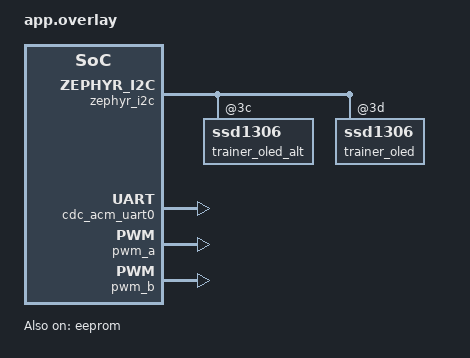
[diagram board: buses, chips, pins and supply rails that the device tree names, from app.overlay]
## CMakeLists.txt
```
# SPDX-License-Identifier: MIT
cmake_minimum_required(VERSION 3.20.0)
list(APPEND BOARD_ROOT "${CMAKE_CURRENT_SOURCE_DIR}/..")
find_package(Zephyr REQUIRED HINTS $ENV{ZEPHYR_BASE})
project(waveform_workout)
target_sources(app PRIVATE src/main.c src/lesson.c src/outputs.c src/usb_console.c src/i2c_scan.c)
if(NOT CONFIG_WORKOUT_FILTER_TEST)
  target_sources(app PRIVATE src/preset_store.c src/trainer_shell.c)
endif()
target_sources_ifdef(CONFIG_WORKOUT_OLED app PRIVATE src/oled.c)
```

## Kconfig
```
mainmenu "Waveform Workout"

config WORKOUT_USB_VID
	hex "USB vendor ID"
	default 0x2fe3
	help
	  Defaults to the Zephyr development VID. Assign your own VID/PID
	  before distributing the device outside development.

config WORKOUT_USB_PID
	hex "USB product ID"
	default 0x0004
	help
	  Defaults to the Zephyr CDC ACM console development PID.

config WORKOUT_FILTER_TEST
	bool "Run the Rev 1 dual-output 250 kHz filter diagnostic"
	help
	  Play the four raw DAC codes continuously after reset.

config WORKOUT_OLED
	bool "Show the active preset on an SSD1306 on J6"
	default y
	depends on !WORKOUT_FILTER_TEST
	select DISPLAY
	select CHARACTER_FRAMEBUFFER

config HEAP_MEM_POOL_ADD_SIZE_WORKOUT_OLED
	int
	default 1152 if WORKOUT_OLED
	default 0
	help
	  Space for the character framebuffer (up to 128 x 64) and allocator metadata.

source "Kconfig.zephyr"
```

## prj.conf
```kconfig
CONFIG_GPIO=y
CONFIG_PM_DEVICE=y
CONFIG_PM_DEVICE_RUNTIME=y
CONFIG_PM_DEVICE_RUNTIME_ASYNC=n
CONFIG_INPUT=y
CONFIG_INPUT_MODE_SYNCHRONOUS=y
CONFIG_DAC=y
CONFIG_DMA=y
CONFIG_SPI=y
CONFIG_LED_STRIP=y
CONFIG_REGULATOR=y
CONFIG_I2C=y
CONFIG_EEPROM=y
CONFIG_CRC=y

# USB CDC ACM is the serial transport for the interactive Zephyr shell.
CONFIG_USB_DEVICE_STACK_NEXT=y
# The STM32 driver supports other MCUs with HS; this board is FS only.
CONFIG_UDC_DRIVER_HIGH_SPEED_SUPPORT_ENABLED=n
CONFIG_USBD_MAX_SPEED_FULL=y
CONFIG_HWINFO=y
# One FS CDC interface needs only small control and 64-byte bulk transfers.
CONFIG_UDC_BUF_POOL_SIZE=512
CONFIG_ISR_STACK_SIZE=1024
CONFIG_SERIAL=y
CONFIG_UART_LINE_CTRL=y
CONFIG_CONSOLE=y
CONFIG_UART_CONSOLE=y
CONFIG_SHELL=y
CONFIG_SHELL_MINIMAL=y
CONFIG_SHELL_HELP=y
CONFIG_SHELL_TAB=y
CONFIG_SHELL_TAB_AUTOCOMPLETION=y
CONFIG_SHELL_HISTORY=y
CONFIG_SHELL_HISTORY_BUFFER=256
CONFIG_SHELL_BACKEND_SERIAL=y
# CDC ACM buffers shell output. Avoid a separate 100 ms DTR polling timer.
CONFIG_SHELL_BACKEND_SERIAL_CHECK_DTR=n
CONFIG_SHELL_BACKEND_SERIAL_TX_RING_BUFFER_SIZE=128
CONFIG_SHELL_PROMPT_UART="trainer:~$ "
CONFIG_KERNEL_SHELL=y
CONFIG_DEVICE_SHELL=y

# Measure VDD through VREFINT before attaching the USB transceiver.
CONFIG_ADC=y
CONFIG_SENSOR=y
```

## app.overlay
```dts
/* SPDX-License-Identifier: MIT */
#include <zephyr/dt-bindings/dma/stm32_dma.h>

/ {
	buttons {
		zephyr,suspend-action = "none";
	};

	chosen {
		zephyr,console = &cdc_acm_uart0;
		zephyr,shell-uart = &cdc_acm_uart0;
		zephyr,display = &trainer_oled;
	};
};

&eeprom { status = "okay"; };

&adc1 { zephyr,pm-device-runtime-auto; };

&spi2 {
	zephyr,pm-device-runtime-auto;
	/* Hold DIN low between frames. PB12/PB14 remain button inputs. */
	pinctrl-1 = <&pixel_data_idle>;
	pinctrl-names = "default", "sleep";
};

&pinctrl {
	pixel_data_idle: pixel-data-idle {
		pinmux = <STM32_PINMUX('B', 15, GPIO)>;
		output-low;
	};
};

&zephyr_i2c {
	trainer_oled_alt: ssd1306@3c {
		reg = <0x3c>;
		#include "oled-panel.dtsi"
	};
	trainer_oled: ssd1306@3d {
		reg = <0x3d>;
		#include "oled-panel.dtsi"
	};
};

&zephyr_udc0 {
	cdc_acm_uart0: cdc-acm-uart0 {
		compatible = "zephyr,cdc-acm-uart";
		/* Use the device product string. Zephyr 4.5 caches the optional
		 * CDC interface string index across USB shutdown/reinitialization.
		 */
		tx-fifo-size = <256>;
		rx-fifo-size = <256>;
	};
};

/* Expose the timer pin states. The application owns the timers directly. */
&pwm_a { status = "okay"; };
&pwm_b { status = "okay"; };

/* TIM2 compare events feed the two PWM preload registers halfway through
 * each period. RM0376 table 51 maps CC3 and CC4 to request 8.
 */
&timers2 {
	dmas = <&dma1 1 8 (STM32_DMA_PERIPH_TX | STM32_DMA_MEM_8BITS | STM32_DMA_PERIPH_16BITS |
			   STM32_DMA_MODE_CYCLIC)>,
	       <&dma1 4 8 (STM32_DMA_PERIPH_TX | STM32_DMA_MEM_8BITS | STM32_DMA_PERIPH_16BITS |
			   STM32_DMA_MODE_CYCLIC)>;
	dma-names = "pulse", "marker";
};
```

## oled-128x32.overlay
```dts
/* SPDX-License-Identifier: MIT */
&trainer_oled {
	height = <32>;
	multiplex-ratio = <31>;
	com-sequential;
};
&trainer_oled_alt {
	height = <32>;
	multiplex-ratio = <31>;
	com-sequential;
};
```

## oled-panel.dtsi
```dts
/* SPDX-License-Identifier: MIT */
/* One physical display. Boot selects the instance with the saved strap address. */
compatible = "solomon,ssd1306";
zephyr,deferred-init;
ready-time-ms = <100>;
width = <128>;
height = <64>;
multiplex-ratio = <63>;
segment-offset = <0>;
page-offset = <0>;
display-offset = <0>;
segment-remap;
com-invdir;
prechargep = <0x22>;
```

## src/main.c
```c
/* SPDX-License-Identifier: MIT */
#include "outputs.h"
#include "oled.h"
#include "preset_store.h"
#include "trainer.h"
#include "usb_console.h"
#include <zephyr/drivers/gpio.h>
#include <zephyr/drivers/led_strip.h>
#include <zephyr/input/input.h>
#include <zephyr/kernel.h>
#include <zephyr/pm/device_runtime.h>

#define PIXELS DT_ALIAS(led_strip)
BUILD_ASSERT(DT_PROP(PIXELS, chain_length) == 9);
static const struct device *const pixels = DEVICE_DT_GET(PIXELS);
static const struct device *const buttons = DEVICE_DT_GET(DT_PATH(buttons));
static const struct gpio_dt_spec diagnostic = GPIO_DT_SPEC_GET(DT_ALIAS(led0), gpios);
static const struct device *const pixel_spi = DEVICE_DT_GET(DT_BUS(PIXELS));

static void heartbeat(struct k_timer *timer)
{
	static bool light;
	light = !light;
	gpio_pin_set_dt(&diagnostic, light);
	k_timer_start(timer, light ? K_MSEC(20) : K_MSEC(4980), K_NO_WAIT);
}
K_TIMER_DEFINE(heartbeat_timer, heartbeat, NULL);

static void indicate_fault(void)
{
	k_timer_stop(&heartbeat_timer);
	gpio_pin_set_dt(&diagnostic, 1);
}

struct reply {
	struct k_sem done;
	int rc;
};

enum panel_action { NEXT_MODE, NEXT_VALUE, SET_MODE, SET_VALUE, SET_OLED_ADDRESS };
struct panel_event {
	enum panel_action action;
	uint8_t field;
	uint8_t value;
	int64_t pressed_at;
	struct reply *reply;
};
K_MSGQ_DEFINE(events, sizeof(struct panel_event), 8, 4);
static atomic_t accepting_edits;

static int submit_edit(struct panel_event event)
{
	if (!atomic_get(&accepting_edits)) {
		return -EAGAIN;
	}
	struct reply reply;
	event.reply = &reply;
	k_sem_init(&reply.done, 0, 1);
	k_msgq_put(&events, &event, K_FOREVER);
	k_sem_take(&reply.done, K_FOREVER);
	return reply.rc;
}

int trainer_set(enum mode field, uint8_t value)
{
	if ((unsigned int)field > MODE_COUNT ||
	    value >= (field == MODE_COUNT ? MODE_COUNT : VALUE_COUNT)) {
		return -EINVAL;
	}
	return submit_edit((struct panel_event){
		.action = field == MODE_COUNT ? SET_MODE : SET_VALUE, .field = field, .value = value,
	});
}

int trainer_set_oled_address(uint8_t address)
{
	if (!oled_address_valid(address)) {
		return -EINVAL;
	}
	return submit_edit((struct panel_event){ .action = SET_OLED_ADDRESS, .value = address });
}

static void on_key(struct input_event *event, void *context)
{
	ARG_UNUSED(context);
	/* gpio-keys debounces both edges. A held key generates one press. */
	if (event->type == INPUT_EV_KEY && event->value == 1 &&
	    (event->code == INPUT_KEY_0 || event->code == INPUT_KEY_1)) {
		struct panel_event press = {
			.action = event->code == INPUT_KEY_0 ? NEXT_MODE : NEXT_VALUE,
			.pressed_at = k_uptime_get(),
		};
		k_msgq_put(&events, &press, K_NO_WAIT);
	}
}
INPUT_CALLBACK_DEFINE(DEVICE_DT_GET(DT_PATH(buttons)), on_key, NULL);

static int display(const struct lesson *lesson)
{
	struct led_rgb frame[DT_PROP(PIXELS, chain_length)] = {0};
	if (lesson) {
		frame[lesson_mode_pixel(lesson)].g = 4;
		frame[lesson_value_pixel(lesson)].g = 4;
	}
	int rc = pm_device_runtime_get(pixel_spi);
	if (rc) {
		return rc;
	}
	rc = led_strip_update_rgb(pixels, frame, ARRAY_SIZE(frame));
	int power_rc = pm_device_runtime_put(pixel_spi);
	return rc ? rc : power_rc;
}

static int run_trainer(void)
{
	struct lesson lesson = LESSON_DEFAULT;
	if (IS_ENABLED(CONFIG_WORKOUT_FILTER_TEST)) {
		return outputs_apply(&lesson);
	}
	uint8_t oled_address = OLED_ADDRESS_DEFAULT;
	int load_rc = preset_load(&lesson, &oled_address);
	if (load_rc && load_rc != -ENOENT) {
		indicate_fault();
	}
	int rc = outputs_apply(&lesson);
	if (rc) {
		return rc;
	}
	const uint8_t boot_oled_address = oled_address;
	int64_t panel_until = 0;
	bool outputs_running = true;
	atomic_set(&accepting_edits, 1);
	for (;;) {
		struct panel_event event;
		k_timeout_t timeout = panel_until ? K_TIMEOUT_ABS_MS(panel_until) : K_FOREVER;
		if (k_msgq_get(&events, &event, timeout) != 0) {
			if (display(NULL)) {
				indicate_fault();
			}
			if (IS_ENABLED(CONFIG_WORKOUT_OLED)) {
				oled_sleep();
			}
			panel_until = 0;
			continue;
		}
		bool press = event.action == NEXT_MODE || event.action == NEXT_VALUE;
		bool wake_only = press && event.pressed_at >= panel_until;
		if (press) {
			panel_until = event.pressed_at + 2000;
		}
		rc = 0;
		if (!wake_only) {
			struct lesson next = lesson;
			uint8_t next_address = oled_address;
			switch (event.action) {
			case NEXT_MODE: lesson_next_mode(&next); break;
			case NEXT_VALUE: lesson_next_value(&next); break;
			case SET_MODE: next.mode = event.value; break;
			case SET_VALUE: next.value[event.field] = event.value; break;
			case SET_OLED_ADDRESS: next_address = event.value; break;
			}
			if (!outputs_running || lesson_output_changed(&lesson, &next)) {
				rc = outputs_apply(&next);
				outputs_running = rc == 0;
			}
			if (!rc) {
				lesson = next;
				rc = preset_save(&lesson, next_address);
				if (!rc) {
					oled_address = next_address;
				}
			}
		}
		if (k_uptime_get() < panel_until) {
			int led_rc = display(&lesson);
			if (!rc) {
				rc = led_rc;
			}
			if (IS_ENABLED(CONFIG_WORKOUT_OLED)) {
				if (wake_only) {
					oled_wake(boot_oled_address);
				}
				oled_show(&lesson);
			}
		}
		if (rc) {
			indicate_fault();
		}
		if (event.reply) {
			event.reply->rc = rc;
			k_sem_give(&event.reply->done);
		}
	}
}

int main(void)
{
	if (!gpio_is_ready_dt(&diagnostic) ||
	    gpio_pin_configure_dt(&diagnostic, GPIO_OUTPUT_INACTIVE)) {
		return -ENODEV;
	}
	if (usb_console_init()) {
		/* A console fault must not prevent standalone waveform playback. */
		indicate_fault();
	} else if (!IS_ENABLED(CONFIG_WORKOUT_FILTER_TEST)) {
		k_timer_start(&heartbeat_timer, K_SECONDS(5), K_NO_WAIT);
	}
	int rc = outputs_init();
	if (!rc) {
		if (!device_is_ready(pixels) || !device_is_ready(buttons)) {
			rc = -ENODEV;
		} else {
			/* Keep both debounced GPIO interrupts armed during CPU Sleep. */
			rc = pm_device_runtime_get(buttons);
			if (!rc) {
				rc = display(NULL);
			}
			if (!rc) {
				rc = run_trainer();
			}
		}
		if (rc) {
			outputs_idle();
		}
	}
	if (rc) {
		indicate_fault();
	}
	return rc;
}
```

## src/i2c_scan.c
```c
/* SPDX-License-Identifier: MIT */
#include <zephyr/drivers/i2c.h>
#include <zephyr/drivers/regulator.h>
#include <zephyr/kernel.h>
#include <zephyr/shell/shell.h>

static int cmd_i2c_scan(const struct shell *sh, size_t argc, char **argv)
{
	const struct device *bus = DEVICE_DT_GET(DT_NODELABEL(zephyr_i2c));
	const struct device *rail = DEVICE_DT_GET(DT_NODELABEL(qt_vdd));
	if (!device_is_ready(bus) || !device_is_ready(rail)) {
		shell_error(sh, "J6 bus or supply unavailable");
		return -ENODEV;
	}
	int rc = regulator_enable(rail);
	if (rc) {
		shell_error(sh, "Could not power J6 (%d)", rc);
		return rc;
	}
	k_sleep(K_MSEC(DT_PROP(DT_NODELABEL(trainer_oled), ready_time_ms)));
	unsigned int found = 0;
	uint8_t unused;
	struct i2c_msg probe = { .buf = &unused, .len = 0, .flags = I2C_MSG_WRITE | I2C_MSG_STOP };
	for (unsigned int address = 0x08; address <= 0x77; ++address) {
		rc = i2c_transfer(bus, &probe, 1, address);
		if (rc == 0) {
			shell_print(sh, "0x%02X", address);
			found++;
		} else if (rc != -EIO && rc != -ENXIO) {
			shell_error(sh, "Scan stopped at 0x%02X (%d)", address, rc);
			break;
		}
		rc = 0;
	}
	int power_rc = regulator_disable(rail);
	if (power_rc) {
		shell_error(sh, "Could not release J6 power (%d)", power_rc);
	}
	if (!rc) {
		shell_print(sh, "%u device(s) found on J6", found);
	}
	return rc ? rc : power_rc;
}

SHELL_CMD_ARG_REGISTER(i2c_scan, NULL, "Scan J6 for 7-bit I2C addresses.", cmd_i2c_scan, 1, 0);
```

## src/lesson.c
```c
/* SPDX-License-Identifier: MIT */
#include "lesson.h"

const char *const lesson_mode_names[MODE_COUNT] = {
	[SHAPE] = "shape", [AMP] = "amp", [FREQ] = "freq",
	[DC] = "dc", [XY] = "xy", [TRIG] = "trig",
};

const char *const lesson_value_names[MODE_COUNT][VALUE_COUNT] = {
	[SHAPE] = {"sine", "square", "triangle"},
	[AMP] = {"200mVpp", "500mVpp", "1Vpp"},
	[FREQ] = {"100Hz", "1kHz", "10kHz"},
	[DC] = {"250mV", "500mV", "1V"},
	[XY] = {"0deg", "90deg", "180deg"},
	[TRIG] = {"rare-pulse", "pulse-width", "missing"},
};

void lesson_next_mode(struct lesson *lesson)
{
	lesson->mode = (lesson->mode + 1) % MODE_COUNT;
}

void lesson_next_value(struct lesson *lesson)
{
	uint8_t *value = &lesson->value[lesson->mode];
	*value = (*value + 1) % VALUE_COUNT;
}

unsigned int lesson_mode_pixel(const struct lesson *lesson)
{
	static const uint8_t pixels[] = {7, 8, 6, 5, 4, 3};
	return pixels[lesson->mode];
}

bool lesson_output_changed(const struct lesson *previous, const struct lesson *next)
{
	/* SHAPE, AMP and FREQ are three editors for the same running waveform. */
	if (previous->mode < DC && next->mode < DC) {
		return previous->value[SHAPE] != next->value[SHAPE] ||
		       previous->value[AMP] != next->value[AMP] ||
		       previous->value[FREQ] != next->value[FREQ];
	}
	return previous->mode != next->mode ||
	       previous->value[next->mode] != next->value[next->mode] ||
	       (next->mode == XY && previous->value[AMP] != next->value[AMP]);
}

unsigned int lesson_value_pixel(const struct lesson *lesson)
{
	return 2 - lesson->value[lesson->mode];
}

unsigned int lesson_sample_rate(const struct lesson *lesson)
{
	static const unsigned int hz[] = {100, 1000, 10000};
	return CYCLE_SAMPLES * (lesson->mode == XY ? 1000 : hz[lesson->value[FREQ]]);
}

/* Signed shape in thousandths of peak amplitude, starting at the rising
 * center crossing for the sine and triangle.
 */
static int shape_level(uint8_t shape, unsigned int phase)
{
	static const int16_t quarter_sine[] = {
		0, 131, 259, 383, 500, 609, 707, 793, 866, 924, 966, 991, 1000
	};
	unsigned int quarter = CYCLE_SAMPLES / 4;
	unsigned int quadrant = phase / quarter;
	unsigned int step = phase % quarter;

	if (shape == 1) {
		return quadrant < 2 ? 1000 : -1000;
	}
	if (quadrant & 1) {
		step = quarter - step;
	}
	int level = shape == 2 ? (int)(1000 * step / quarter) : quarter_sine[step];
	return quadrant < 2 ? level : -level;
}

static uint32_t dac_code(unsigned int microvolts, unsigned int vref_mv)
{
	/* Use 64 bits before scaling the 1.25 V peak by 4096. Only used when
	 * preparing the table, never on the sample clock.
	 */
	unsigned int reference = 1000 * vref_mv;
	return ((uint64_t)microvolts * 4096 + reference / 2) / reference;
}

uint32_t lesson_sample(const struct lesson *lesson, unsigned int phase, unsigned int vref_mv)
{
	static const int vpp_mv[] = {200, 500, 1000};
	static const unsigned int dc_uv[] = {250000, 500000, 1000000};
	uint32_t a, b;

	if (lesson->mode == DC) {
		a = b = dac_code(dc_uv[lesson->value[DC]], vref_mv);
	} else {
		int peak_mv = vpp_mv[lesson->value[AMP]] / 2;
		unsigned int shape = lesson->mode == XY ? 0 : lesson->value[SHAPE];
		unsigned int offset = lesson->mode == XY ? lesson->value[XY] * CYCLE_SAMPLES / 4 : 0;
		a = dac_code(750000 + peak_mv * shape_level(shape, phase), vref_mv);
		b = dac_code(750000 + peak_mv * shape_level(shape, (phase + offset) % CYCLE_SAMPLES),
			     vref_mv);
	}
	return (a << 16) | b; /* DAC2 = J2 (A), DAC1 = TP3 (B). */
}

unsigned int trigger_sequence(uint8_t value, uint8_t *pulse_us, uint8_t *marker_us)
{
	if (value == 1) {
		static const uint8_t widths[] = {10, 40, 80};
		for (unsigned int i = 0; i < 3; ++i) {
			pulse_us[i] = widths[i];
			marker_us[i] = i == 0 ? 10 : 0;
		}
		return 3;
	}
	for (unsigned int i = 0; i < RARE_PERIODS - 1; ++i) {
		pulse_us[i] = 50;
		marker_us[i] = 0;
	}
	pulse_us[RARE_PERIODS - 1] = value == 0 ? 2 : 0;
	marker_us[RARE_PERIODS - 1] = 10;
	return RARE_PERIODS;
}
```

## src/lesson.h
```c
/* SPDX-License-Identifier: MIT */
#ifndef WORKOUT_LESSON_H
#define WORKOUT_LESSON_H

#include <stdbool.h>
#include <stdint.h>

enum mode { SHAPE, AMP, FREQ, DC, XY, TRIG, MODE_COUNT };
enum { VALUE_COUNT = 3 };
enum { CYCLE_SAMPLES = 48, TRIGGER_PERIOD_US = 100, RARE_PERIODS = 1000 };

struct lesson {
	enum mode mode;
	uint8_t value[MODE_COUNT]; /* zero-based front-panel positions */
};

#define LESSON_DEFAULT { .mode = SHAPE, .value = { [AMP] = 2, [FREQ] = 1 } }

extern const char *const lesson_mode_names[MODE_COUNT];
extern const char *const lesson_value_names[MODE_COUNT][VALUE_COUNT];

void lesson_next_mode(struct lesson *lesson);
void lesson_next_value(struct lesson *lesson);
bool lesson_output_changed(const struct lesson *previous, const struct lesson *next);
unsigned int lesson_mode_pixel(const struct lesson *lesson);
unsigned int lesson_value_pixel(const struct lesson *lesson);
unsigned int lesson_sample_rate(const struct lesson *lesson);
uint32_t lesson_sample(const struct lesson *lesson, unsigned int phase, unsigned int vref_mv);
unsigned int trigger_sequence(uint8_t value, uint8_t *pulse_us, uint8_t *marker_us);

#endif
```

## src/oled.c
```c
/* SPDX-License-Identifier: MIT */
#include "oled.h"
#include "preset_store.h"
#include <zephyr/display/cfb.h>
#include <zephyr/drivers/display.h>
#include <zephyr/drivers/regulator.h>
#include <zephyr/kernel.h>

#define PANEL DT_CHOSEN(zephyr_display)
#define ALT_PANEL DT_NODELABEL(trainer_oled_alt)
BUILD_ASSERT(DT_REG_ADDR(PANEL) == OLED_ADDRESS_DEFAULT);
BUILD_ASSERT(DT_REG_ADDR(ALT_PANEL) == OLED_ADDRESS_LOW);
static const struct device *panel;
static const struct device *const rail = DEVICE_DT_GET(DT_NODELABEL(qt_vdd));
static bool available;
static uint8_t font_height;

void oled_wake(uint8_t address)
{
	if (available || !device_is_ready(rail) || regulator_enable(rail)) {
		return;
	}
	panel = address == OLED_ADDRESS_LOW ? DEVICE_DT_GET(ALT_PANEL) : DEVICE_DT_GET(PANEL);
	k_sleep(K_MSEC(MAX(DT_PROP(PANEL, ready_time_ms), DT_PROP(ALT_PANEL, ready_time_ms))));
	/* Cutting J6 resets the controller. Zephyr 4.5's SSD1306 has no
	 * deinit hook, so replay its driver init on subsequent power cycles.
	 * Only the trainer thread accesses this deferred display instance.
	 */
	int rc = device_is_ready(panel) ? panel->ops.init(panel) : device_init(panel);
	if (rc || cfb_framebuffer_init(panel)) {
		regulator_disable(rail);
		return;
	}
	/* Use the 10x16 font, independent of linker order. */
	for (int i = 0; i < cfb_get_numof_fonts(panel); ++i) {
		uint8_t width;
		if (!cfb_get_font_size(panel, i, &width, &font_height) &&
		    width == 10 && font_height == 16) {
			cfb_framebuffer_set_font(panel, i);
			available = true;
			return;
		}
	}
	cfb_framebuffer_deinit(panel);
	regulator_disable(rail);
}

void oled_sleep(void)
{
	if (available) {
		/* Blank even if a concurrent J6 scan still holds the regulator. */
		display_blanking_on(panel);
		cfb_framebuffer_deinit(panel);
		regulator_disable(rail);
		available = false;
	}
}

void oled_show(const struct lesson *lesson)
{
	if (!available) {
		return;
	}
	int height = cfb_get_display_parameter(panel, CFB_DISPLAY_HEIGHT);
	cfb_framebuffer_clear(panel, false);
	cfb_draw_text(panel, lesson_mode_names[lesson->mode], 0, 0);
	if (height >= 3 * font_height) {
		struct cfb_position start = {0, font_height + 2};
		struct cfb_position end = {cfb_get_display_parameter(panel, CFB_DISPLAY_WIDTH) - 1,
					   start.y};
		cfb_draw_line(panel, &start, &end);
	}
	cfb_draw_text(panel, lesson_value_names[lesson->mode][lesson->value[lesson->mode]],
		      0, height - font_height);
	if (cfb_framebuffer_finalize(panel)) {
		oled_sleep();
	}
}
```

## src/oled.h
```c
/* SPDX-License-Identifier: MIT */
#ifndef WORKOUT_OLED_H
#define WORKOUT_OLED_H

#include "lesson.h"

void oled_wake(uint8_t address);
void oled_sleep(void);
void oled_show(const struct lesson *lesson);

#endif
```

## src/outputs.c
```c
/* SPDX-License-Identifier: MIT */
#include "outputs.h"
#include <zephyr/drivers/dac.h>
#include <zephyr/drivers/dma.h>
#include <zephyr/drivers/gpio.h>
#include <zephyr/drivers/pinctrl.h>
#include <zephyr/kernel.h>
#include <stm32_ll_bus.h>
#include <stm32_ll_dac.h>
#include <stm32_ll_tim.h>

#define USER DT_PATH(zephyr_user)
#define DAC_NODE DT_NODELABEL(dac1)
#define MARKER_TIMER DT_NODELABEL(timers2)
#define TIMER_HZ DT_PROP(DT_NODELABEL(rcc), clock_frequency)
BUILD_ASSERT(DT_PROP(DT_NODELABEL(rcc), apb1_prescaler) == 1 &&
	     DT_PROP(DT_NODELABEL(rcc), apb2_prescaler) == 1);
BUILD_ASSERT(TIMER_HZ % 1000000 == 0 && TIMER_HZ % (10000 * CYCLE_SAMPLES) == 0);

static const struct gpio_dt_spec selectors[] = {
	GPIO_DT_SPEC_GET(USER, a_select_gpios), GPIO_DT_SPEC_GET(USER, b_select_gpios)
};
static const struct dac_dt_spec dac_a = DAC_DT_SPEC_GET_BY_NAME(USER, dac_a);
static const struct dac_dt_spec dac_b = DAC_DT_SPEC_GET_BY_NAME(USER, dac_b);
PINCTRL_DT_DEFINE(DT_NODELABEL(pwm_a));
PINCTRL_DT_DEFINE(DT_NODELABEL(pwm_b));

struct dma_stream {
	const struct device *device;
	uint8_t channel;
	uint8_t slot;
};
#define DMA_STREAM(node, name) { DEVICE_DT_GET(DT_DMAS_CTLR_BY_NAME(node, name)), \
	DT_DMAS_CELL_BY_NAME(node, name, channel), DT_DMAS_CELL_BY_NAME(node, name, slot) }
static const struct dma_stream analog = DMA_STREAM(DAC_NODE, dual);
static const struct dma_stream pulse = DMA_STREAM(MARKER_TIMER, pulse);
static const struct dma_stream marker = DMA_STREAM(MARKER_TIMER, marker);

/* outputs_idle() stops DMA before a new lesson fills either table. */
BUILD_ASSERT(TRIGGER_PERIOD_US <= UINT8_MAX);
static union {
	uint32_t samples[CYCLE_SAMPLES];
	struct {
		uint8_t pulse_us[RARE_PERIODS];
		uint8_t marker_us[RARE_PERIODS];
	} trigger;
} tables;

static int start_dma(const struct dma_stream *stream, const void *table, unsigned int count,
		     size_t memory_width, size_t peripheral_width, volatile uint32_t *destination)
{
	struct dma_block_config block = {
		.source_address = (uintptr_t)table, .dest_address = (uintptr_t)destination,
		.source_addr_adj = DMA_ADDR_ADJ_INCREMENT, .dest_addr_adj = DMA_ADDR_ADJ_NO_CHANGE,
		.source_reload_en = true, .dest_reload_en = true,
		/* Zephyr's STM32 driver divides the TX block size by the peripheral width
		 * to obtain CNDTR, the number of timer or DAC transfers.
		 */
		.block_size = count * peripheral_width,
	};
	struct dma_config config = {
		.dma_slot = stream->slot, .channel_direction = MEMORY_TO_PERIPHERAL,
		.channel_priority = 2, .cyclic = true, .block_count = 1, .head_block = &block,
		.source_data_size = memory_width, .dest_data_size = peripheral_width,
		.source_burst_length = 1, .dest_burst_length = 1,
	};
	int rc = dma_config(stream->device, stream->channel, &config);
	return rc ? rc : dma_start(stream->device, stream->channel);
}

static int select_analog(bool enable)
{
	for (size_t i = 0; i < ARRAY_SIZE(selectors); ++i) {
		int rc = gpio_pin_set_dt(&selectors[i], enable);
		if (rc) {
			return rc;
		}
	}
	return 0;
}

void outputs_idle(void)
{
	/* A previous lesson may have gated either timer bank or the DAC. */
	LL_APB1_GRP1_EnableClock(LL_APB1_GRP1_PERIPH_TIM6 | LL_APB1_GRP1_PERIPH_TIM2 |
				 LL_APB1_GRP1_PERIPH_DAC1);
	LL_APB2_GRP1_EnableClock(LL_APB2_GRP1_PERIPH_TIM21);
	TIM6->CR1 = 0;
	DAC1->CR &= ~DAC_CR_DMAEN1;
	TIM2->DIER = 0;
	TIM2->CR1 = 0;
	TIM21->CR1 = 0;
	dma_stop(analog.device, analog.channel);
	dma_stop(pulse.device, pulse.channel);
	dma_stop(marker.device, marker.channel);

	/* Latch zero duty on both digital paths before routing to them. */
	TIM2->CCR2 = 0;
	TIM21->CCR1 = 0;
	TIM2->EGR = TIM_EGR_UG;
	TIM21->EGR = TIM_EGR_UG;
	select_analog(false);
	DAC1->CR &= ~(DAC_CR_EN1 | DAC_CR_EN2);
	LL_APB1_GRP1_DisableClock(LL_APB1_GRP1_PERIPH_TIM6 | LL_APB1_GRP1_PERIPH_TIM2 |
				  LL_APB1_GRP1_PERIPH_DAC1);
	LL_APB2_GRP1_DisableClock(LL_APB2_GRP1_PERIPH_TIM21);
}

int outputs_init(void)
{
	for (size_t i = 0; i < ARRAY_SIZE(selectors); ++i) {
		if (!gpio_is_ready_dt(&selectors[i])) {
			return -ENODEV;
		}
		int rc = gpio_pin_configure_dt(&selectors[i], GPIO_OUTPUT_INACTIVE);
		if (rc) {
			return rc;
		}
	}
	if (!dac_is_ready_dt(&dac_a) || !dac_is_ready_dt(&dac_b) ||
	    !device_is_ready(analog.device)) {
		return -ENODEV;
	}
	int rc = dac_channel_setup_dt(&dac_a);
	if (rc) {
		return rc;
	}
	rc = dac_channel_setup_dt(&dac_b);
	if (rc) {
		return rc;
	}

	LL_APB1_GRP1_EnableClock(LL_APB1_GRP1_PERIPH_TIM6 | LL_APB1_GRP1_PERIPH_TIM2);
	LL_APB2_GRP1_EnableClock(LL_APB2_GRP1_PERIPH_TIM21);
	LL_TIM_SetTriggerOutput(TIM6, LL_TIM_TRGO_UPDATE);
	DAC1->CR |= DAC_CR_TEN1 | DAC_CR_TEN2; /* TSEL = 0 on both: TIM6 TRGO */

	/* 1 us ticks on both counters. TIM2 CEN starts TIM21 through ITR0
	 * (RM0376 table 95). PWM edges are generated by the compare units.
	 */
	TIM2->PSC = TIM21->PSC = TIMER_HZ / 1000000 - 1;
	TIM2->ARR = TIM21->ARR = TRIGGER_PERIOD_US - 1;
	LL_TIM_SetTriggerOutput(TIM2, LL_TIM_TRGO_ENABLE);
	LL_TIM_SetTriggerInput(TIM21, LL_TIM_TS_ITR0);
	LL_TIM_SetSlaveMode(TIM21, LL_TIM_SLAVEMODE_TRIGGER);
	LL_TIM_OC_SetMode(TIM2, LL_TIM_CHANNEL_CH2, LL_TIM_OCMODE_PWM1);
	LL_TIM_OC_SetMode(TIM21, LL_TIM_CHANNEL_CH1, LL_TIM_OCMODE_PWM1);
	LL_TIM_OC_EnablePreload(TIM2, LL_TIM_CHANNEL_CH2);
	LL_TIM_OC_EnablePreload(TIM21, LL_TIM_CHANNEL_CH1);
	TIM2->CCR3 = TIM2->CCR4 = TRIGGER_PERIOD_US / 2;
	/* Only CH2 is muxed to a pad. CH3 and CH4 are internal DMA clocks. */
	TIM2->CCER = TIM_CCER_CC2E | TIM_CCER_CC3E | TIM_CCER_CC4E;
	TIM21->CCER = TIM_CCER_CC1E;
	outputs_idle();
	rc = pinctrl_apply_state(PINCTRL_DT_DEV_CONFIG_GET(DT_NODELABEL(pwm_a)),
				 PINCTRL_STATE_DEFAULT);
	if (rc) {
		return rc;
	}
	return pinctrl_apply_state(PINCTRL_DT_DEV_CONFIG_GET(DT_NODELABEL(pwm_b)),
				   PINCTRL_STATE_DEFAULT);
}

static int start_trigger(uint8_t value)
{
	LL_APB1_GRP1_EnableClock(LL_APB1_GRP1_PERIPH_TIM2);
	LL_APB2_GRP1_EnableClock(LL_APB2_GRP1_PERIPH_TIM21);
	uint8_t *pulse_us = tables.trigger.pulse_us;
	uint8_t *marker_us = tables.trigger.marker_us;
	unsigned int count = trigger_sequence(value, pulse_us, marker_us);
	/* DMA zero-extends each byte to a timer compare halfword. */
	int rc = start_dma(&pulse, pulse_us, count, sizeof(*pulse_us), sizeof(uint16_t),
			   &TIM21->CCR1);
	if (rc) {
		return rc;
	}
	rc = start_dma(&marker, marker_us, count, sizeof(*marker_us), sizeof(uint16_t),
		       &TIM2->CCR2);
	if (rc) {
		return rc;
	}
	/* Begin with one quiet period. Two internal compares preload the next
	 * widths 50 us before both PWM counters roll over. No per-edge ISR.
	 */
	TIM2->SR = 0;
	TIM2->DIER = TIM_DIER_CC3DE | TIM_DIER_CC4DE;
	LL_TIM_EnableCounter(TIM2);
	return 0;
}

static int start_analog(const struct lesson *lesson)
{
	LL_APB1_GRP1_EnableClock(LL_APB1_GRP1_PERIPH_TIM6 | LL_APB1_GRP1_PERIPH_DAC1);
	DAC1->CR |= DAC_CR_EN1 | DAC_CR_EN2;
	uint32_t *samples = tables.samples;
	unsigned int count = CYCLE_SAMPLES;
	unsigned int rate = lesson_sample_rate(lesson);
	bool playback = lesson->mode != DC;
	if (IS_ENABLED(CONFIG_WORKOUT_FILTER_TEST)) {
		/* The DMA table starts with phase 1. Phase 0 is primed below. */
		static const uint16_t codes[] = {1457, 1457, 324, 324};
		count = ARRAY_SIZE(codes);
		rate = 1000000;
		for (unsigned int i = 0; i < count; ++i) {
			uint32_t code = codes[(i + 1) % count];
			samples[i] = (code << 16) | code;
		}
	} else {
		count = playback ? CYCLE_SAMPLES : 1;
		for (unsigned int i = 0; i < count; ++i) {
			samples[i] = lesson_sample(lesson, (i + 1) % count, dac_a.vref_mv);
		}
	}
	TIM6->ARR = TIMER_HZ / rate - 1;
	DAC1->SR = DAC_SR_DMAUDR1;
	DAC1->DHR12RD = samples[count - 1];
	if (playback) {
		int rc = start_dma(&analog, samples, count, sizeof(*samples), sizeof(uint32_t),
				   &DAC1->DHR12RD);
		if (rc) {
			return rc;
		}
		DAC1->CR |= DAC_CR_DMAEN1;
	}
	TIM6->EGR = TIM_EGR_UG; /* Latch phase 0; DMA stages phase 1. */
	k_busy_wait(50); /* DAC startup and external filter settling, verify at TP22/23. */
	int rc = select_analog(true);
	if (!rc && playback) {
		LL_TIM_EnableCounter(TIM6);
	} else {
		LL_APB1_GRP1_DisableClock(LL_APB1_GRP1_PERIPH_TIM6);
	}
	return rc;
}

int outputs_apply(const struct lesson *lesson)
{
	outputs_idle();
	int rc = lesson->mode == TRIG ? start_trigger(lesson->value[TRIG]) : start_analog(lesson);
	if (rc) {
		outputs_idle();
	}
	return rc;
}
```

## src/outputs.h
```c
/* SPDX-License-Identifier: MIT */
#ifndef WORKOUT_OUTPUTS_H
#define WORKOUT_OUTPUTS_H

#include "lesson.h"

int outputs_init(void);
int outputs_apply(const struct lesson *lesson);
void outputs_idle(void);

#endif
```

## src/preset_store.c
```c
/* SPDX-License-Identifier: MIT */
#include "preset_store.h"
#include <string.h>
#include <zephyr/drivers/eeprom.h>
#include <zephyr/sys/crc.h>

/* Two independent 16-byte slots at EEPROM offset zero. Byte fields keep the
 * format independent of compiler enum size, struct padding and endianness.
 * The commit byte lives in its own STM32 EEPROM word.
 */
struct preset_record {
	uint8_t version;
	uint8_t sequence;
	uint8_t mode;
	uint8_t value[6];
	uint8_t oled_address; /* Occupies the original v1 CRC byte. */
	uint8_t crc;
	uint8_t reserved;
	uint8_t committed;
	uint8_t padding[3];
};

enum { FORMAT_VERSION = 2, COMMITTED = 0xa5 };
#define EEPROM_NODE DT_NODELABEL(eeprom)
static const struct device *const storage = DEVICE_DT_GET(EEPROM_NODE);
BUILD_ASSERT(MODE_COUNT == 6 && sizeof(struct preset_record) == 16);
BUILD_ASSERT(DT_REG_SIZE(EEPROM_NODE) >= 2 * sizeof(struct preset_record));

static uint8_t checksum(const struct preset_record *record)
{
	return crc8_ccitt(0, (const uint8_t *)record, offsetof(struct preset_record, crc));
}

static bool decode(struct preset_record *record)
{
	if (record->committed != COMMITTED || record->mode >= MODE_COUNT) {
		return false;
	}
	for (size_t i = 0; i < MODE_COUNT; ++i) {
		if (record->value[i] >= VALUE_COUNT) {
			return false;
		}
	}
	if (record->version == 1) {
		uint8_t old_crc = crc8_ccitt(0, record, offsetof(struct preset_record, oled_address));
		if (old_crc != record->oled_address) {
			return false;
		}
		record->oled_address = OLED_ADDRESS_DEFAULT;
		return true;
	}
	return record->version == FORMAT_VERSION && oled_address_valid(record->oled_address) &&
	       record->crc == checksum(record);
}

static int latest(struct preset_record *result)
{
	struct preset_record slots[2];
	if (!device_is_ready(storage)) {
		return -ENODEV;
	}
	int rc = eeprom_read(storage, 0, slots, sizeof(slots));
	if (rc) {
		return rc;
	}
	int slot = 0;
	if (!decode(&slots[0])) {
		if (!decode(&slots[1])) {
			return -ENOENT;
		}
		slot = 1;
	} else if (decode(&slots[1]) && slots[1].sequence == (uint8_t)(slots[0].sequence + 1)) {
		slot = 1;
	}
	*result = slots[slot];
	return slot;
}

int preset_load(struct lesson *lesson, uint8_t *oled_address)
{
	struct preset_record record;
	int slot = latest(&record);
	if (slot < 0) {
		return slot;
	}
	lesson->mode = record.mode;
	*oled_address = record.oled_address;
	memcpy(lesson->value, record.value, sizeof(record.value));
	return 0;
}

int preset_save(const struct lesson *lesson, uint8_t oled_address)
{
	if (!oled_address_valid(oled_address)) {
		return -EINVAL;
	}
	struct preset_record record = {0};
	int slot = latest(&record);
	if (slot < 0 && slot != -ENOENT) {
		return slot;
	}
	if (slot >= 0 && record.version == FORMAT_VERSION && record.mode == lesson->mode &&
	    record.oled_address == oled_address &&
	    memcmp(record.value, lesson->value, sizeof(record.value)) == 0) {
		return 0;
	}
	int offset = (slot == 0) ? sizeof(record) : 0;
	record.sequence++;
	record.version = FORMAT_VERSION;
	record.oled_address = oled_address;
	record.mode = lesson->mode;
	memcpy(record.value, lesson->value, sizeof(record.value));
	record.crc = checksum(&record);

	const int marker = offset + offsetof(struct preset_record, committed);
	uint8_t flag = 0;
	int rc = eeprom_write(storage, marker, &flag, 1);
	if (!rc) {
		rc = eeprom_write(storage, offset, &record, offsetof(struct preset_record, reserved));
	}
	if (!rc) {
		flag = COMMITTED;
		rc = eeprom_write(storage, marker, &flag, 1);
	}
	return rc;
}
```

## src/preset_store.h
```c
/* SPDX-License-Identifier: MIT */
#ifndef WORKOUT_PRESET_STORE_H
#define WORKOUT_PRESET_STORE_H

#include "lesson.h"

enum { OLED_ADDRESS_LOW = 0x3c, OLED_ADDRESS_DEFAULT = 0x3d };

static inline bool oled_address_valid(uint8_t address)
{
	return address == OLED_ADDRESS_LOW || address == OLED_ADDRESS_DEFAULT;
}

/* The trainer loop is the sole writer. Readers take one EEPROM snapshot.
 * A failed read leaves the destination unchanged. -ENOENT means no valid preset.
 */
int preset_load(struct lesson *lesson, uint8_t *oled_address);
int preset_save(const struct lesson *lesson, uint8_t oled_address);

#endif
```

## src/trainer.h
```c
/* SPDX-License-Identifier: MIT */
#ifndef WORKOUT_TRAINER_H
#define WORKOUT_TRAINER_H

#include "lesson.h"

/* MODE_COUNT selects the active editor, otherwise field selects its preset. */
int trainer_set(enum mode field, uint8_t value);
int trainer_set_oled_address(uint8_t address);

#endif
```

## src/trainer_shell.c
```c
/* SPDX-License-Identifier: MIT */
#include "preset_store.h"
#include "trainer.h"
#include <string.h>
#include <zephyr/shell/shell.h>
#include <zephyr/shell/shell_string_conv.h>

static int cmd_show(const struct shell *sh, size_t argc, char **argv)
{
	struct lesson saved = LESSON_DEFAULT;
	uint8_t oled_address = OLED_ADDRESS_DEFAULT;
	int rc = preset_load(&saved, &oled_address);
	if (rc == -ENOENT) {
		shell_print(sh, "No valid EEPROM preset. Boot defaults:");
	} else if (rc) {
		shell_error(sh, "EEPROM read failed (%d)", rc);
		return rc;
	}
	shell_print(sh, "mode %s", lesson_mode_names[saved.mode]);
	shell_print(sh, "oled_addr 0x%02X", (unsigned int)oled_address);
	for (int i = 0; i < MODE_COUNT; ++i) {
		shell_print(sh, "%s %s", lesson_mode_names[i], lesson_value_names[i][saved.value[i]]);
	}
	return 0;
}

static int lookup(const char *name, const char *const names[], int count)
{
	for (int i = 0; i < count; ++i) {
		if (strcmp(name, names[i]) == 0) {
			return i;
		}
	}
	return -1;
}

static int cmd_set(const struct shell *sh, size_t argc, char **argv)
{
	if (strcmp(argv[1], "oled_addr") == 0) {
		int err = 0;
		unsigned long address = shell_strtoul(argv[2], 0, &err);
		if (err || address > UINT8_MAX || !oled_address_valid(address)) {
			shell_error(sh, "Use 7-bit SSD1306 address 0x3C or 0x3D");
			return -EINVAL;
		}
		err = trainer_set_oled_address(address);
		if (err) {
			shell_error(sh, "Update failed (%d). Use trainer settings show to read EEPROM.", err);
		} else {
			shell_print(sh, "Saved oled_addr 0x%02X for next boot", (unsigned int)address);
		}
		return err;
	}
	int field = MODE_COUNT;
	int count = MODE_COUNT;
	const char *const *names = lesson_mode_names;
	if (strcmp(argv[1], "mode") != 0) {
		field = lookup(argv[1], lesson_mode_names, MODE_COUNT);
		if (field < 0) {
			shell_error(sh, "Use mode, shape, amp, freq, dc, xy, trig or oled_addr");
			return -EINVAL;
		}
		names = lesson_value_names[field];
		count = VALUE_COUNT;
	}
	int value = lookup(argv[2], names, count);
	if (value < 0) {
		shell_error(sh, "Valid values for %s:", argv[1]);
		for (int i = 0; i < count; ++i) {
			shell_print(sh, "  %s", names[i]);
		}
		return -EINVAL;
	}
	int rc = trainer_set(field, value);
	if (rc) {
		shell_error(sh, "Update failed (%d). Use trainer settings show to read EEPROM.", rc);
	} else {
		shell_print(sh, "Saved %s %s", argv[1], names[value]);
	}
	return rc;
}

SHELL_STATIC_SUBCMD_SET_CREATE(settings_commands,
	SHELL_CMD_ARG(show, NULL, "Read the saved EEPROM preset.", cmd_show, 1, 0),
	SHELL_CMD_ARG(set, NULL, "Apply and save: set <field> <value>", cmd_set, 3, 0),
	SHELL_SUBCMD_SET_END);
SHELL_STATIC_SUBCMD_SET_CREATE(trainer_commands,
	SHELL_CMD(settings, &settings_commands, "Persistent trainer settings.", NULL),
	SHELL_SUBCMD_SET_END);
SHELL_CMD_REGISTER(trainer, &trainer_commands, "Waveform Workout controls.", NULL);
```

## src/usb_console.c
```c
/* SPDX-License-Identifier: MIT */
#include "usb_console.h"
#include <zephyr/drivers/gpio.h>
#include <zephyr/drivers/sensor.h>
#include <zephyr/kernel.h>
#include <zephyr/usb/usbd.h>
#ifdef CONFIG_UDC_STM32
#include <stm32_ll_bus.h>
#include <stm32_ll_rcc.h>
#include <stm32_ll_system.h>
#endif

/* STM32L072 USB requires VDD >= 3.0 V. Hysteresis avoids repeated enumeration. */
#define USB_ATTACH_MV 3100
#define USB_DETACH_MV 3000

static const struct gpio_dt_spec vbus =
	GPIO_DT_SPEC_GET(DT_PATH(zephyr_user), vbus_present_gpios);
static const struct device *const supply = DEVICE_DT_GET(DT_ALIAS(volt_sensor0));
static bool attached;
static bool initialized;
static struct gpio_callback vbus_cb;

USBD_DEVICE_DEFINE(trainer_usb, DEVICE_DT_GET(DT_NODELABEL(zephyr_udc0)),
		   CONFIG_WORKOUT_USB_VID, CONFIG_WORKOUT_USB_PID);
USBD_DESC_LANG_DEFINE(usb_lang);
USBD_DESC_MANUFACTURER_DEFINE(usb_mfr, "BaldEE");
USBD_DESC_PRODUCT_DEFINE(usb_product, "Waveform Workout");
USBD_DESC_SERIAL_NUMBER_DEFINE(usb_serial);
USBD_DESC_CONFIG_DEFINE(usb_config_desc, "CDC ACM shell");
/* bMaxPower is in 2 mA units: 100 mA maximum from VBUS. */
USBD_CONFIGURATION_DEFINE(usb_config, 0, 50, &usb_config_desc);

static void check_power(struct k_work *work);
static K_WORK_DELAYABLE_DEFINE(power_work, check_power);

/* HSI48 and CRS are dedicated to USB on this board. The waveform timers
 * use the separate HSI16/PLL system clock.
 */
static int usb_clock(bool on)
{
#ifdef CONFIG_UDC_STM32
	if (on) {
		LL_SYSCFG_VREFINT_EnableHSI48();
		LL_RCC_HSI48_Enable();
		if (!WAIT_FOR(LL_RCC_HSI48_IsReady(), 10000, k_busy_wait(10))) {
			return -ETIMEDOUT;
		}
		LL_APB1_GRP1_EnableClock(LL_APB1_GRP1_PERIPH_CRS);
		/* The board's boot-time CRS configuration survives clock gating. */
	} else {
		LL_APB1_GRP1_DisableClock(LL_APB1_GRP1_PERIPH_CRS);
		LL_RCC_HSI48_Disable();
		LL_SYSCFG_VREFINT_DisableHSI48();
	}
#endif
	return 0;
}

static int configure_usb(void);

static void check_power(struct k_work *work)
{
	ARG_UNUSED(work);
	struct sensor_value voltage;
	bool enable = false;

	/* GPIO_ACTIVE_LOW in the board definition accounts for the VBUS inverter. */
	int cable = gpio_pin_get_dt(&vbus);
	if (cable > 0 &&
	    sensor_sample_fetch_chan(supply, SENSOR_CHAN_VOLTAGE) == 0 &&
	    sensor_channel_get(supply, SENSOR_CHAN_VOLTAGE, &voltage) == 0) {
		int mv = voltage.val1 * 1000 + voltage.val2 / 1000;
		enable = attached ? mv >= USB_DETACH_MV : mv >= USB_ATTACH_MV;
	}
	if (enable && !initialized) {
		if (!usb_clock(true)) {
			initialized = configure_usb() == 0;
			if (!initialized) {
				/* Drop partial descriptor/class registrations before retry. */
				usbd_shutdown(&trainer_usb);
			}
		}
		if (!initialized) {
			usb_clock(false);
		}
	}
	if (initialized && enable != attached) {
		int rc = enable ? usbd_enable(&trainer_usb) : usbd_disable(&trainer_usb);
		if (!rc || rc == -EALREADY) {
			attached = enable;
		}
	}
	if (!enable && !attached && initialized) {
		usbd_shutdown(&trainer_usb);
		initialized = false;
		usb_clock(false);
	}
	/* An edge schedules immediate work. Never overwrite a pending edge
	 * with the later voltage check, including during a failed detach.
	 */
	if (cable != 0 || attached) {
		k_work_schedule(&power_work, K_MSEC(100));
	}
}

static void vbus_changed(const struct device *port, struct gpio_callback *cb, gpio_port_pins_t pins)
{
	k_work_reschedule(&power_work, K_NO_WAIT);
}

static int configure_usb(void)
{
	int rc;
	struct usbd_desc_node *const descriptors[] = {
		&usb_lang, &usb_mfr, &usb_product, &usb_serial,
	};
	for (size_t i = 0; i < ARRAY_SIZE(descriptors); ++i) {
		rc = usbd_add_descriptor(&trainer_usb, descriptors[i]);
		if (rc) {
			return rc;
		}
	}
	rc = usbd_add_configuration(&trainer_usb, USBD_SPEED_FS, &usb_config);
	if (rc) {
		return rc;
	}
	rc = usbd_register_class(&trainer_usb, "cdc_acm_0", USBD_SPEED_FS, 1);
	if (rc) {
		return rc;
	}
	/* CDC ACM has two interfaces joined by an Interface Association Descriptor. */
	rc = usbd_device_set_code_triple(&trainer_usb, USBD_SPEED_FS,
					 USB_BCC_MISCELLANEOUS, 0x02, 0x01);
	if (rc) {
		return rc;
	}
	return usbd_init(&trainer_usb);
}

int usb_console_init(void)
{
	usb_clock(false);
	if (!gpio_is_ready_dt(&vbus) || !device_is_ready(supply)) {
		return -ENODEV;
	}
	int rc = gpio_pin_configure_dt(&vbus, GPIO_INPUT);
	if (!rc) {
		gpio_init_callback(&vbus_cb, vbus_changed, BIT(vbus.pin));
		rc = gpio_add_callback(vbus.port, &vbus_cb);
	}
	if (!rc) {
		rc = gpio_pin_interrupt_configure_dt(&vbus, GPIO_INT_EDGE_BOTH);
	}
	if (!rc) {
		k_work_reschedule(&power_work, K_NO_WAIT);
	}
	return rc;
}
```
